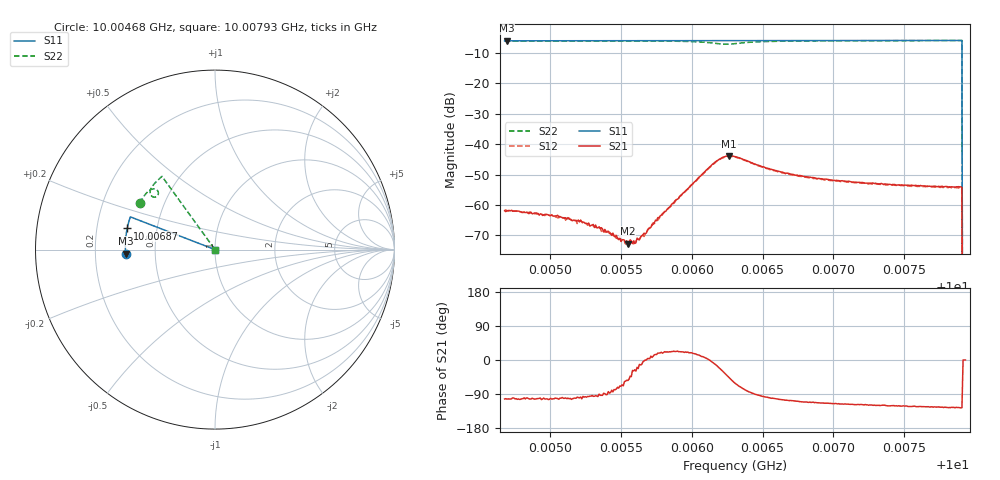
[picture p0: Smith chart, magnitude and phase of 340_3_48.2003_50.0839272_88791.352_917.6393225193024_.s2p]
#  HZ  S  RI  R  50.00
! Rohde & Schwarz Vector Network Analyzer
! Rohde-Schwarz,ZNB20-2Port,1311601062101988,3.16
! Created: UTC 3/20/2024, 11:51:16 AM
! freq[Hz]  re:S11  im:S11  re:S21  im:S21  re:S12  im:S12  re:S22  im:S22
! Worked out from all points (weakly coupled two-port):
!   401 points, 10.00468 GHz to 10.00793 GHz, reference 50 ohm
!   highest |S21| = -43.89 dB at 10.00626 GHz (marker M1); lowest = -72.7 dB at 10.00555 GHz (marker M2)
!   lowest |S11| = -6.0 dB at 10.00469 GHz (marker M3), VSWR 2.99, Z = 16.7 - j0.973 ohm
!   |S11| at or under -10 dB: 10.00791 GHz to end of sweep
!   |S22| runs from - to -6.0 dB; largest |S21 - S12| = 0.00038
!   S11 on the Smith chart (normalised r, x): 10.00468 GHz: 0.33, -0.02; 10.00687 GHz: 0.33, +0.11; 10.00793 GHz: 1.00, +0.00
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1.0004677e10  -0.4986 -0.023  -0.000179 -0.000782  -0.000137 -0.000788  -0.42 0.2587
1.0004694e10  -0.4985 -0.0218  -0.00018 -0.000775  -0.000118 -0.0008  -0.4196 0.2595
1.0005052e10  -0.4997 0.00134  -0.000136 -0.000662  -8.87e-05 -0.000609  -0.4069 0.281
1.0005223e10  -0.5 0.0123  -0.000114 -0.000515  -1.83e-05 -0.000527  -0.4003 0.2912
1.000541e10  -0.4999 0.0244  4.21e-05 -0.000367  6.53e-05 -0.000346  -0.3922 0.3026
1.0005491e10  -0.4998 0.0297  0.000107 -0.000274  0.000104 -0.000257  -0.3881 0.3074
1.0005548e10  -0.4995 0.0335  0.000136 -0.000188  0.000135 -0.000161  -0.3854 0.3107
1.0005573e10  -0.4996 0.0352  0.000185 -0.000177  0.000181 -0.000135  -0.3842 0.3125
1.0005589e10  -0.4997 0.0361  0.000224 -0.000123  0.000205 -0.000101  -0.3833 0.3135
1.0005613e10  -0.4995 0.0378  0.000268 -9.33e-05  0.000251 -0.000126  -0.3819 0.315
1.000567e10  -0.4994 0.0413  0.000337 -9.01e-07  0.000332 -5.8e-06  -0.3786 0.3187
1.0005768e10  -0.4988 0.0478  0.000585 0.000192  0.000556 0.000205  -0.372 0.3248
1.0006143e10  -0.4963 0.0719  0.00456 -0.000388  0.00447 -0.000156  -0.3209 0.3292
1.0006208e10  -0.4958 0.0759  0.0053 -0.00254  0.00531 -0.00226  -0.3158 0.31
1.0006265e10  -0.4954 0.0791  0.00434 -0.0047  0.00451 -0.00435  -0.3274 0.2947
1.0006305e10  -0.495 0.0817  0.003 -0.00545  0.00323 -0.00523  -0.3397 0.2923
1.0006574e10  -0.4928 0.099  -0.000702 -0.0037  -0.000566 -0.00366  -0.3601 0.3303
1.0006851e10  -0.4897 0.1167  -0.00103 -0.00262  -0.000911 -0.00259  -0.3483 0.3542
1.0006867e10  -0.4894 0.1176  -0.00107 -0.00258  -0.000945 -0.00256  -0.3475 0.3552
1.0007396e10  -0.4814 0.1508  -0.00113 -0.00187  -0.000983 -0.00188  -0.3213 0.3846
1.0007893e10  -0.4718 0.1811  -0.00115 -0.00161  -0.00104 -0.00162  -0.2962 0.4073
1.0007934e10  0 0  0 0  0 0  0 0
